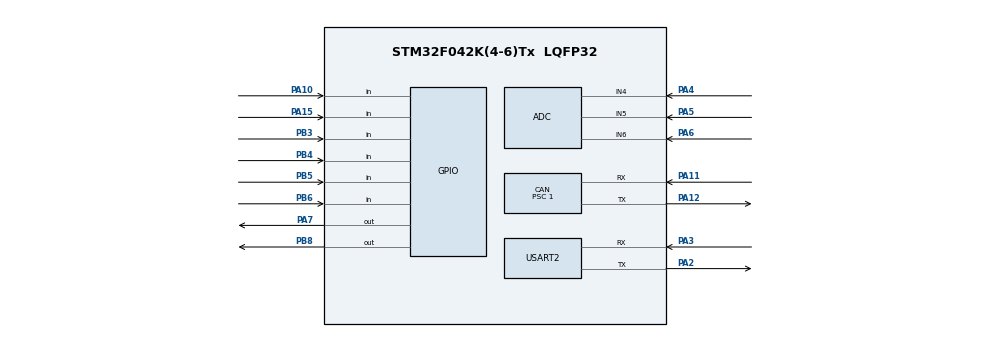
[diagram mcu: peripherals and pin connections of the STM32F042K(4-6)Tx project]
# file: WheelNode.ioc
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ADC.ContinuousConvMode=DISABLE
ADC.DMAContinuousRequests=DISABLE
ADC.EOCSelection=ADC_EOC_SINGLE_CONV
ADC.SamplingTime=ADC_SAMPLETIME_28CYCLES_5
CAN.BS1=CAN_BS1_13TQ
CAN.BS2=CAN_BS2_2TQ
CAN.CalculateBaudRate=500000
CAN.CalculateTimeBit=2000
CAN.CalculateTimeQuantum=125.0
CAN.Prescaler=1
Mcu.Family=STM32F0
Mcu.Name=STM32F042K(4-6)Tx
Mcu.Package=LQFP32
PA10.GPIO_PuPd=GPIO_PULLDOWN
PA10.Signal=GPIO_Input
PA11.Mode=CAN_Activate
PA11.Signal=CAN_RX
PA12.Mode=CAN_Activate
PA12.Signal=CAN_TX
PA13.Mode=Serial_Wire
PA13.Signal=SYS_SWDIO
PA14.Mode=Serial_Wire
PA14.Signal=SYS_SWCLK
PA15.GPIO_PuPd=GPIO_PULLDOWN
PA15.Signal=GPIO_Input
PA2.Mode=Asynchronous
PA2.Signal=USART2_TX
PA3.Mode=Asynchronous
PA3.Signal=USART2_RX
PA4.Mode=IN4
PA4.Signal=ADC_IN4
PA5.Mode=IN5
PA5.Signal=ADC_IN5
PA6.Mode=IN6
PA6.Signal=ADC_IN6
PA7.PinState=GPIO_PIN_SET
PA7.Signal=GPIO_Output
PB3.GPIO_PuPd=GPIO_PULLDOWN
PB3.Signal=GPIO_Input
PB4.GPIO_PuPd=GPIO_PULLDOWN
PB4.Signal=GPIO_Input
PB5.GPIO_PuPd=GPIO_PULLDOWN
PB5.Signal=GPIO_Input
PB6.GPIO_PuPd=GPIO_PULLDOWN
PB6.Signal=GPIO_Input
PB8.PinState=GPIO_PIN_SET
PB8.Signal=GPIO_Output
PF0-OSC_IN.Mode=HSE-External-Oscillator
PF0-OSC_IN.Signal=RCC_OSC_IN
PF1-OSC_OUT.Mode=HSE-External-Oscillator
PF1-OSC_OUT.Signal=RCC_OSC_OUT
ProjectManager.HeapSize=0x200
ProjectManager.StackSize=0x400
ProjectManager.TargetToolchain=STM32CubeIDE
RCC.PLLSourceVirtual=RCC_PLLSOURCE_HSE
RCC.SYSCLKSource=RCC_SYSCLKSOURCE_HSE
USART2.VirtualMode-Asynchronous=VM_ASYNC
board=custom

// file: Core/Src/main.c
/* USER CODE BEGIN Header */
/**
  ******************************************************************************
  * @file           : main.c
  * @brief          : Main program body
  ******************************************************************************
  * @attention
  *
  * Copyright (c) 2026 STMicroelectronics.
  * All rights reserved.
  *
  * This software is licensed under terms that can be found in the LICENSE file
  * in the root directory of this software component.
  * If no LICENSE file comes with this software, it is provided AS-IS.
  *
  ******************************************************************************
  */
/* USER CODE END Header */
#include "main.h"

/* USER CODE BEGIN Includes */
#include <stdio.h>
/* USER CODE END Includes */

ADC_HandleTypeDef hadc;

CAN_HandleTypeDef hcan;

UART_HandleTypeDef huart2;

/* USER CODE BEGIN PV */
static uint16_t adc_buffer[3] = {0};
static uint8_t knob_positions[3] = {0};
static GPIO_TypeDef* button_ports[3] = {GPIOB, GPIOB, GPIOB};
static uint16_t button_pins[3] = {GPIO_PIN_6, GPIO_PIN_3, GPIO_PIN_5};

/* USER CODE END PV */

void SystemClock_Config(void);
static void MX_GPIO_Init(void);
static void MX_ADC_Init(void);
static void MX_CAN_Init(void);
static void MX_USART2_UART_Init(void);

/* USER CODE BEGIN 0 */
/* Redirect printf to UART2 (no floats) */
int _write(int file, char *ptr, int len){
    HAL_UART_Transmit(&huart2, (uint8_t*)ptr, len, 100);
    return len;
}

static void Read_Knob_Values(uint8_t vals[3]){
    HAL_ADC_Start(&hadc);
    for(int i = 0; i < 3; i++){
    	//if(HAL_ADC_PollForConversion(&hadc, 10) == HAL_OK){
            adc_buffer[i] = HAL_ADC_GetValue(&hadc);
            uint8_t pos = (adc_buffer[i] * 7) / 4095;
            if(pos > 7) pos = 7;// clamp just in case it somehow goes out of bounds
            knob_positions[i] = pos;
            //printf("ADC val %i: %u\r\n", i, adc_buffer[i]);
        //}
    }
    HAL_ADC_Stop(&hadc);
}

static void Read_Buttons(uint8_t vals[3]){
	for(int i = 0; i < 3; i++){
		if(HAL_GPIO_ReadPin(button_ports[i], button_pins[i]) == GPIO_PIN_SET){
			vals[i] = 1;
		}else{
			vals[i] = 0;
		}
	}
}

static void CAN_Setup_Start_AllAccept(void) {
	CAN_FilterTypeDef sFilterConfig = {0};
	sFilterConfig.FilterBank = 0;
	sFilterConfig.FilterMode = CAN_FILTERMODE_IDMASK;
	sFilterConfig.FilterScale = CAN_FILTERSCALE_32BIT;
	sFilterConfig.FilterIdHigh = 0x0000;
	sFilterConfig.FilterIdLow = 0x0000;
	sFilterConfig.FilterMaskIdHigh = 0x0000;
	sFilterConfig.FilterMaskIdLow = 0x0000;
	sFilterConfig.FilterFIFOAssignment = CAN_FILTER_FIFO0;
	sFilterConfig.FilterActivation = ENABLE;
	#if defined (CAN_IVR) || defined (CAN_FCR)
	sFilterConfig.SlaveStartFilterBank = 14;
	#endif
	if (HAL_CAN_ConfigFilter(&hcan, &sFilterConfig) != HAL_OK) {
		Error_Handler();
	}
	if (HAL_CAN_Start(&hcan) != HAL_OK) {
		Error_Handler();
	}
}
/* USER CODE END 0 */

int main(void)
{

  /* MCU Configuration--------------------------------------------------------*/

  /* Reset of all peripherals, Initializes the Flash interface and the Systick. */
  HAL_Init();

  /* Configure the system clock */
  SystemClock_Config();

  /* Initialize all configured peripherals */
  MX_GPIO_Init();
  MX_ADC_Init();
  MX_CAN_Init();
  MX_USART2_UART_Init();
  /* USER CODE BEGIN 2 */
  CAN_Setup_Start_AllAccept();
  CAN_TxHeaderTypeDef txHeader = {0};
  txHeader.StdId = 0x100;
  txHeader.ExtId = 0x00;
  txHeader.RTR = CAN_RTR_DATA;
  txHeader.IDE = CAN_ID_STD;
  txHeader.DLC = 2;
  txHeader.TransmitGlobalTime = DISABLE;

  static uint8_t txData[2] = {0};
  static uint32_t txMailbox = 0;
  static uint8_t button_data[3];
  /* USER CODE END 2 */

  /* Infinite loop */
  while (1){

    /* USER CODE BEGIN 3 */
	  HAL_GPIO_TogglePin(GPIOA, GPIO_PIN_7);
	  //HAL_GPIO_TogglePin(GPIOB, GPIO_PIN_8);
      Read_Knob_Values(knob_positions);
      Read_Buttons(button_data);

      /* Pack knob positions into txData[0]..txData[1] */
      txData[0] = (knob_positions[0] & 0x0F)       // knob0 bits 0-3
                | ((knob_positions[1] & 0x0F) << 4); // knob1 bits 4-7

      txData[1] = (knob_positions[2] & 0x0F)        //knob2 bits 0–3
                | ((button_data[0] & 0x01) << 4)    //button0 → bit4
                | ((button_data[1] & 0x01) << 5)    //button1 → bit5
                | ((button_data[2] & 0x01) << 6);   //button2 → bit6
       //bit7 unused (0)

      // Debug print
      printf("Knobs: %u %u %u, Buttons: %u %u %u\r\n",
             knob_positions[0],
             knob_positions[1],
             knob_positions[2],
			 button_data[0],
			 button_data[1],
			 button_data[2]);

      // Send CAN frame (non-blocking)
      if(HAL_CAN_AddTxMessage(&hcan, &txHeader, txData, &txMailbox) != HAL_OK){
          printf("CAN TX Error\r\n");
      }

      HAL_Delay(500);
  }
  /* USER CODE END 3 */
}

void SystemClock_Config(void)
{
  RCC_OscInitTypeDef RCC_OscInitStruct = {0};
  RCC_ClkInitTypeDef RCC_ClkInitStruct = {0};

  /** Initializes the RCC Oscillators according to the specified parameters
  * in the RCC_OscInitTypeDef structure.
  */
  RCC_OscInitStruct.OscillatorType = RCC_OSCILLATORTYPE_HSI14|RCC_OSCILLATORTYPE_HSE;
  RCC_OscInitStruct.HSEState = RCC_HSE_ON;
  RCC_OscInitStruct.HSI14State = RCC_HSI14_ON;
  RCC_OscInitStruct.HSI14CalibrationValue = 16;
  RCC_OscInitStruct.PLL.PLLState = RCC_PLL_NONE;
  if (HAL_RCC_OscConfig(&RCC_OscInitStruct) != HAL_OK)
  {
    Error_Handler();
  }

  /** Initializes the CPU, AHB and APB buses clocks
  */
  RCC_ClkInitStruct.ClockType = RCC_CLOCKTYPE_HCLK|RCC_CLOCKTYPE_SYSCLK
                              |RCC_CLOCKTYPE_PCLK1;
  RCC_ClkInitStruct.SYSCLKSource = RCC_SYSCLKSOURCE_HSE;
  RCC_ClkInitStruct.AHBCLKDivider = RCC_SYSCLK_DIV1;
  RCC_ClkInitStruct.APB1CLKDivider = RCC_HCLK_DIV1;

  if (HAL_RCC_ClockConfig(&RCC_ClkInitStruct, FLASH_LATENCY_0) != HAL_OK)
  {
    Error_Handler();
  }
}

static void MX_ADC_Init(void)
{

  ADC_ChannelConfTypeDef sConfig = {0};

  /** Configure the global features of the ADC (Clock, Resolution, Data Alignment and number of conversion)
  */
  hadc.Instance = ADC1;
  hadc.Init.ClockPrescaler = ADC_CLOCK_ASYNC_DIV1;
  hadc.Init.Resolution = ADC_RESOLUTION_12B;
  hadc.Init.DataAlign = ADC_DATAALIGN_RIGHT;
  hadc.Init.ScanConvMode = ADC_SCAN_DIRECTION_FORWARD;
  hadc.Init.EOCSelection = ADC_EOC_SINGLE_CONV;
  hadc.Init.LowPowerAutoWait = DISABLE;
  hadc.Init.LowPowerAutoPowerOff = DISABLE;
  hadc.Init.ContinuousConvMode = DISABLE;
  hadc.Init.DiscontinuousConvMode = DISABLE;
  hadc.Init.ExternalTrigConv = ADC_SOFTWARE_START;
  hadc.Init.ExternalTrigConvEdge = ADC_EXTERNALTRIGCONVEDGE_NONE;
  hadc.Init.DMAContinuousRequests = DISABLE;
  hadc.Init.Overrun = ADC_OVR_DATA_PRESERVED;
  if (HAL_ADC_Init(&hadc) != HAL_OK)
  {
    Error_Handler();
  }

  /** Configure for the selected ADC regular channel to be converted.
  */
  sConfig.Channel = ADC_CHANNEL_4;
  sConfig.Rank = ADC_RANK_CHANNEL_NUMBER;
  sConfig.SamplingTime = ADC_SAMPLETIME_28CYCLES_5;
  if (HAL_ADC_ConfigChannel(&hadc, &sConfig) != HAL_OK)
  {
    Error_Handler();
  }

  /** Configure for the selected ADC regular channel to be converted.
  */
  sConfig.Channel = ADC_CHANNEL_5;
  if (HAL_ADC_ConfigChannel(&hadc, &sConfig) != HAL_OK)
  {
    Error_Handler();
  }

  /** Configure for the selected ADC regular channel to be converted.
  */
  sConfig.Channel = ADC_CHANNEL_6;
  if (HAL_ADC_ConfigChannel(&hadc, &sConfig) != HAL_OK)
  {
    Error_Handler();
  }

}

static void MX_CAN_Init(void)
{

  hcan.Instance = CAN;
  hcan.Init.Prescaler = 1;
  hcan.Init.Mode = CAN_MODE_NORMAL;
  hcan.Init.SyncJumpWidth = CAN_SJW_1TQ;
  hcan.Init.TimeSeg1 = CAN_BS1_13TQ;
  hcan.Init.TimeSeg2 = CAN_BS2_2TQ;
  hcan.Init.TimeTriggeredMode = DISABLE;
  hcan.Init.AutoBusOff = DISABLE;
  hcan.Init.AutoWakeUp = DISABLE;
  hcan.Init.AutoRetransmission = DISABLE;
  hcan.Init.ReceiveFifoLocked = DISABLE;
  hcan.Init.TransmitFifoPriority = DISABLE;
  if (HAL_CAN_Init(&hcan) != HAL_OK)
  {
    Error_Handler();
  }

}

static void MX_USART2_UART_Init(void)
{

  huart2.Instance = USART2;
  huart2.Init.BaudRate = 38400;
  huart2.Init.WordLength = UART_WORDLENGTH_8B;
  huart2.Init.StopBits = UART_STOPBITS_1;
  huart2.Init.Parity = UART_PARITY_NONE;
  huart2.Init.Mode = UART_MODE_TX_RX;
  huart2.Init.HwFlowCtl = UART_HWCONTROL_NONE;
  huart2.Init.OverSampling = UART_OVERSAMPLING_16;
  huart2.Init.OneBitSampling = UART_ONE_BIT_SAMPLE_DISABLE;
  huart2.AdvancedInit.AdvFeatureInit = UART_ADVFEATURE_NO_INIT;
  if (HAL_UART_Init(&huart2) != HAL_OK)
  {
    Error_Handler();
  }

}

static void MX_GPIO_Init(void)
{
  GPIO_InitTypeDef GPIO_InitStruct = {0};

  /* GPIO Ports Clock Enable */
  __HAL_RCC_GPIOF_CLK_ENABLE();
  __HAL_RCC_GPIOA_CLK_ENABLE();
  __HAL_RCC_GPIOB_CLK_ENABLE();

  /*Configure GPIO pin Output Level */
  HAL_GPIO_WritePin(GPIOA, GPIO_PIN_7, GPIO_PIN_SET);

  /*Configure GPIO pin Output Level */
  HAL_GPIO_WritePin(GPIOB, GPIO_PIN_8, GPIO_PIN_SET);

  /*Configure GPIO pins : PA0 PA1 PA8 PA9 */
  GPIO_InitStruct.Pin = GPIO_PIN_0|GPIO_PIN_1|GPIO_PIN_8|GPIO_PIN_9;
  GPIO_InitStruct.Mode = GPIO_MODE_ANALOG;
  GPIO_InitStruct.Pull = GPIO_NOPULL;
  HAL_GPIO_Init(GPIOA, &GPIO_InitStruct);

  /*Configure GPIO pin : PA7 */
  GPIO_InitStruct.Pin = GPIO_PIN_7;
  GPIO_InitStruct.Mode = GPIO_MODE_OUTPUT_PP;
  GPIO_InitStruct.Pull = GPIO_NOPULL;
  GPIO_InitStruct.Speed = GPIO_SPEED_FREQ_LOW;
  HAL_GPIO_Init(GPIOA, &GPIO_InitStruct);

  /*Configure GPIO pins : PB0 PB1 PB7 */
  GPIO_InitStruct.Pin = GPIO_PIN_0|GPIO_PIN_1|GPIO_PIN_7;
  GPIO_InitStruct.Mode = GPIO_MODE_ANALOG;
  GPIO_InitStruct.Pull = GPIO_NOPULL;
  HAL_GPIO_Init(GPIOB, &GPIO_InitStruct);

  /*Configure GPIO pins : PA10 PA15 */
  GPIO_InitStruct.Pin = GPIO_PIN_10|GPIO_PIN_15;
  GPIO_InitStruct.Mode = GPIO_MODE_INPUT;
  GPIO_InitStruct.Pull = GPIO_PULLDOWN;
  HAL_GPIO_Init(GPIOA, &GPIO_InitStruct);

  /*Configure GPIO pins : PB3 PB4 PB5 PB6 */
  GPIO_InitStruct.Pin = GPIO_PIN_3|GPIO_PIN_4|GPIO_PIN_5|GPIO_PIN_6;
  GPIO_InitStruct.Mode = GPIO_MODE_INPUT;
  GPIO_InitStruct.Pull = GPIO_PULLDOWN;
  HAL_GPIO_Init(GPIOB, &GPIO_InitStruct);

  /*Configure GPIO pin : PB8 */
  GPIO_InitStruct.Pin = GPIO_PIN_8;
  GPIO_InitStruct.Mode = GPIO_MODE_OUTPUT_PP;
  GPIO_InitStruct.Pull = GPIO_NOPULL;
  GPIO_InitStruct.Speed = GPIO_SPEED_FREQ_LOW;
  HAL_GPIO_Init(GPIOB, &GPIO_InitStruct);

  /* USER CODE BEGIN MX_GPIO_Init_2 */
  /* USART2 TX (PA2) and RX (PA3) */
  GPIO_InitStruct.Pin = GPIO_PIN_2|GPIO_PIN_3;
  GPIO_InitStruct.Mode = GPIO_MODE_AF_PP;//Alternate function push-pull
  GPIO_InitStruct.Pull = GPIO_NOPULL;
  GPIO_InitStruct.Speed = GPIO_SPEED_FREQ_LOW;
  GPIO_InitStruct.Alternate = GPIO_AF1_USART2;
  HAL_GPIO_Init(GPIOA, &GPIO_InitStruct);

  /* CAN TX (PA12) and RX (PA11) */
  GPIO_InitStruct.Pin = GPIO_PIN_11|GPIO_PIN_12;
  GPIO_InitStruct.Mode = GPIO_MODE_AF_PP;//Alternate function push-pull
  GPIO_InitStruct.Pull = GPIO_NOPULL;
  GPIO_InitStruct.Speed = GPIO_SPEED_FREQ_LOW;
  GPIO_InitStruct.Alternate = GPIO_AF4_CAN;//CAN alternate function
  HAL_GPIO_Init(GPIOA, &GPIO_InitStruct);
  /* USER CODE END MX_GPIO_Init_2 */
}

void Error_Handler(void)
{
  __disable_irq();
  while (1)
  {
  }
}
